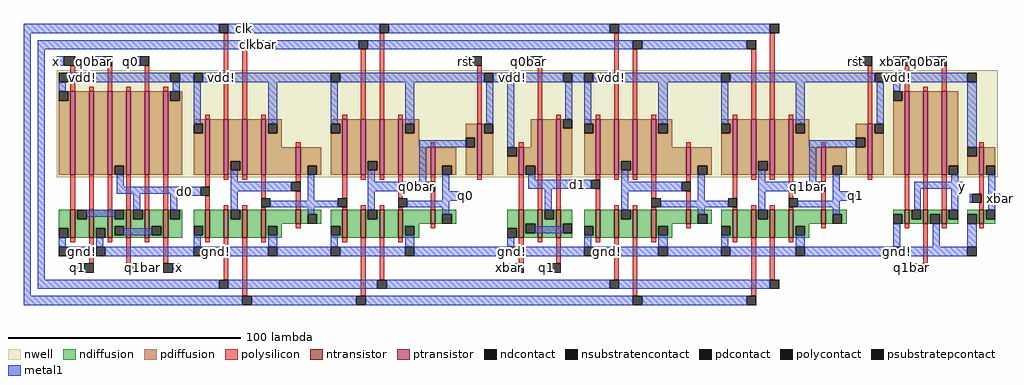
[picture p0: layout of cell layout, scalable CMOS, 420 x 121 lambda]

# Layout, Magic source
magic
tech scmos
<< nwell >>
rect -98 26 307 72
<< polysilicon >>
rect -92 63 -90 74
rect -84 63 -82 65
rect -76 63 -74 74
rect -68 63 -66 65
rect -60 63 -58 74
rect -52 63 -50 65
rect -34 51 -32 53
rect -26 51 -24 88
rect -18 51 -16 81
rect -10 51 -8 53
rect 25 51 27 53
rect 33 51 35 81
rect 41 51 43 88
rect 49 51 51 53
rect 5 39 7 41
rect 83 49 85 74
rect 109 51 111 74
rect 117 51 119 53
rect 134 51 136 53
rect 142 51 144 88
rect 150 51 152 81
rect 158 51 160 53
rect 193 51 195 53
rect 201 51 203 81
rect 209 51 211 88
rect 217 51 219 53
rect 63 39 65 41
rect 101 39 103 41
rect 173 39 175 41
rect 251 49 253 74
rect 267 63 269 74
rect 275 63 277 65
rect 283 63 285 74
rect 231 39 233 41
rect 299 39 301 41
rect -92 12 -90 27
rect -84 12 -82 27
rect -76 12 -74 27
rect -68 12 -66 27
rect -60 12 -58 27
rect -52 12 -50 27
rect -34 22 -32 27
rect -26 25 -24 27
rect -18 25 -16 27
rect -34 12 -32 18
rect -10 17 -8 27
rect 5 24 7 27
rect -26 12 -24 14
rect -18 12 -16 14
rect -10 12 -8 13
rect 5 12 7 20
rect 25 17 27 27
rect 33 25 35 27
rect 41 25 43 27
rect 49 17 51 27
rect 63 24 65 27
rect 83 25 85 27
rect 25 12 27 13
rect 33 12 35 14
rect 41 12 43 14
rect 49 12 51 13
rect 63 12 65 20
rect 101 12 103 27
rect 109 12 111 27
rect 117 12 119 27
rect 134 25 136 27
rect 142 25 144 27
rect 150 25 152 27
rect 134 12 136 21
rect 158 17 160 27
rect 173 24 175 27
rect 142 12 144 14
rect 150 12 152 14
rect 158 12 160 13
rect 173 12 175 20
rect 193 17 195 27
rect 201 25 203 27
rect 209 25 211 27
rect 217 17 219 27
rect 231 24 233 27
rect 251 25 253 27
rect 193 12 195 13
rect 201 12 203 14
rect 209 12 211 14
rect 217 12 219 13
rect 231 12 233 20
rect 267 12 269 27
rect 275 12 277 27
rect 283 12 285 27
rect 299 19 301 27
rect 300 15 301 19
rect 299 12 301 15
rect 5 4 7 6
rect 63 4 65 6
rect 173 4 175 6
rect 231 4 233 6
rect 267 4 269 6
rect -92 -2 -90 0
rect -84 -11 -82 0
rect -76 -2 -74 0
rect -68 -11 -66 0
rect -60 -2 -58 0
rect -52 -11 -50 0
rect -34 -2 -32 0
rect -26 -18 -24 0
rect -18 -25 -16 0
rect -10 -2 -8 0
rect 25 -2 27 0
rect 33 -25 35 0
rect 41 -18 43 0
rect 49 -2 51 0
rect 101 -11 103 0
rect 109 -2 111 0
rect 117 -11 119 0
rect 134 -2 136 0
rect 142 -18 144 0
rect 150 -25 152 0
rect 158 -2 160 0
rect 193 -2 195 0
rect 201 -25 203 0
rect 209 -18 211 0
rect 217 -2 219 0
rect 275 -11 277 6
rect 283 4 285 6
rect 299 4 301 6
<< ndiffusion >>
rect -97 4 -92 12
rect -93 0 -92 4
rect -90 8 -89 12
rect -85 8 -84 12
rect -90 0 -84 8
rect -82 4 -76 12
rect -82 0 -81 4
rect -77 0 -76 4
rect -74 8 -73 12
rect -69 8 -68 12
rect -74 5 -68 8
rect -74 1 -73 5
rect -69 1 -68 5
rect -74 0 -68 1
rect -66 8 -65 12
rect -61 8 -60 12
rect -66 0 -60 8
rect -58 5 -52 12
rect -58 1 -57 5
rect -53 1 -52 5
rect -58 0 -52 1
rect -50 8 -49 12
rect -45 8 -44 12
rect -50 0 -44 8
rect -39 5 -34 12
rect -35 1 -34 5
rect -39 0 -34 1
rect -32 0 -26 12
rect -24 8 -23 12
rect -19 8 -18 12
rect -24 0 -18 8
rect -16 0 -10 12
rect -8 6 5 12
rect 7 10 16 12
rect 7 6 10 10
rect 14 6 16 10
rect -8 5 -1 6
rect -8 1 -7 5
rect -3 1 -1 5
rect 20 5 25 12
rect -8 0 -1 1
rect 24 1 25 5
rect 20 0 25 1
rect 27 0 33 12
rect 35 8 36 12
rect 40 8 41 12
rect 35 0 41 8
rect 43 0 49 12
rect 51 6 63 12
rect 65 10 74 12
rect 65 6 68 10
rect 72 6 74 10
rect 51 5 58 6
rect 51 1 52 5
rect 56 1 58 5
rect 96 4 101 12
rect 51 0 58 1
rect 100 0 101 4
rect 103 6 109 12
rect 103 2 104 6
rect 108 2 109 6
rect 103 0 109 2
rect 111 8 112 12
rect 116 8 117 12
rect 111 0 117 8
rect 119 6 124 12
rect 119 2 120 6
rect 119 0 124 2
rect 129 5 134 12
rect 133 1 134 5
rect 129 0 134 1
rect 136 0 142 12
rect 144 8 145 12
rect 149 8 150 12
rect 144 0 150 8
rect 152 0 158 12
rect 160 6 173 12
rect 175 10 184 12
rect 175 6 178 10
rect 182 6 184 10
rect 160 5 167 6
rect 160 1 161 5
rect 165 1 167 5
rect 188 5 193 12
rect 160 0 167 1
rect 192 1 193 5
rect 188 0 193 1
rect 195 0 201 12
rect 203 8 204 12
rect 208 8 209 12
rect 203 0 209 8
rect 211 0 217 12
rect 219 6 231 12
rect 233 10 242 12
rect 233 6 236 10
rect 240 6 242 10
rect 262 10 267 12
rect 266 6 267 10
rect 269 8 270 12
rect 274 8 275 12
rect 269 6 275 8
rect 277 10 283 12
rect 277 6 278 10
rect 282 6 283 10
rect 285 8 286 12
rect 285 6 290 8
rect 294 10 299 12
rect 298 6 299 10
rect 301 8 302 12
rect 301 6 306 8
rect 219 5 226 6
rect 219 1 220 5
rect 224 1 226 5
rect 219 0 226 1
<< pdiffusion >>
rect -93 59 -92 63
rect -97 27 -92 59
rect -90 27 -84 63
rect -82 27 -76 63
rect -74 31 -68 63
rect -74 27 -73 31
rect -69 27 -68 31
rect -66 27 -60 63
rect -58 27 -52 63
rect -50 59 -49 63
rect -45 59 -44 63
rect -50 27 -44 59
rect -39 49 -34 51
rect -35 45 -34 49
rect -39 27 -34 45
rect -32 27 -26 51
rect -24 33 -18 51
rect -24 29 -23 33
rect -19 29 -18 33
rect -24 27 -18 29
rect -16 27 -10 51
rect -8 49 -1 51
rect -8 45 -7 49
rect -3 45 -1 49
rect -8 39 -1 45
rect 20 49 25 51
rect 24 45 25 49
rect -8 27 5 39
rect 7 31 16 39
rect 7 27 10 31
rect 14 27 16 31
rect 20 27 25 45
rect 27 27 33 51
rect 35 33 41 51
rect 35 29 36 33
rect 40 29 41 33
rect 35 27 41 29
rect 43 27 49 51
rect 51 49 58 51
rect 51 45 52 49
rect 56 45 58 49
rect 51 39 58 45
rect 78 43 83 49
rect 82 39 83 43
rect 51 27 63 39
rect 65 31 74 39
rect 65 27 68 31
rect 72 27 74 31
rect 78 27 83 39
rect 85 45 86 49
rect 85 27 90 45
rect 106 39 109 51
rect 100 35 101 39
rect 96 27 101 35
rect 103 31 109 39
rect 103 27 104 31
rect 108 27 109 31
rect 111 27 117 51
rect 119 47 120 51
rect 119 27 124 47
rect 129 49 134 51
rect 133 45 134 49
rect 129 27 134 45
rect 136 27 142 51
rect 144 33 150 51
rect 144 29 145 33
rect 149 29 150 33
rect 144 27 150 29
rect 152 27 158 51
rect 160 49 167 51
rect 160 45 161 49
rect 165 45 167 49
rect 160 39 167 45
rect 188 49 193 51
rect 192 45 193 49
rect 160 27 173 39
rect 175 31 184 39
rect 175 27 178 31
rect 182 27 184 31
rect 188 27 193 45
rect 195 27 201 51
rect 203 33 209 51
rect 203 29 204 33
rect 208 29 209 33
rect 203 27 209 29
rect 211 27 217 51
rect 219 49 226 51
rect 266 59 267 63
rect 219 45 220 49
rect 224 45 226 49
rect 219 39 226 45
rect 246 43 251 49
rect 250 39 251 43
rect 219 27 231 39
rect 233 31 242 39
rect 233 27 236 31
rect 240 27 242 31
rect 246 27 251 39
rect 253 45 254 49
rect 253 27 258 45
rect 262 27 267 59
rect 269 27 275 63
rect 277 27 283 63
rect 285 31 290 63
rect 285 27 286 31
rect 298 35 299 39
rect 294 27 299 35
rect 301 31 306 39
rect 301 27 302 31
<< metal1 >>
rect -112 88 -28 92
rect -24 88 41 92
rect 45 88 140 92
rect 144 88 209 92
rect -112 -25 -109 88
rect -106 81 -18 85
rect -14 81 32 85
rect 36 81 150 85
rect 154 81 199 85
rect -106 -18 -103 81
rect -98 74 -95 78
rect -82 74 -78 78
rect -66 74 -62 78
rect 78 74 81 78
rect 105 74 107 78
rect 246 74 249 78
rect 262 74 265 78
rect 277 74 281 78
rect -93 67 -49 71
rect -45 67 -39 71
rect -35 67 20 71
rect 24 67 86 71
rect 90 67 96 71
rect 100 67 120 71
rect 124 67 129 71
rect 133 67 188 71
rect 192 67 254 71
rect 258 67 262 71
rect 266 67 294 71
rect -97 63 -94 67
rect -48 63 -45 67
rect -39 49 -36 67
rect -7 49 -3 67
rect 20 49 23 67
rect 52 49 56 67
rect 87 49 90 67
rect 58 39 78 42
rect 96 39 99 67
rect 121 51 124 67
rect 129 49 132 67
rect 161 49 165 67
rect 188 49 191 67
rect 220 49 224 67
rect 255 49 258 67
rect 262 63 265 67
rect 226 39 246 42
rect 294 39 298 67
rect -72 22 -69 27
rect -23 24 -20 29
rect -72 19 -36 22
rect -65 12 -62 19
rect -49 18 -36 19
rect -23 20 3 24
rect -49 12 -46 18
rect -23 12 -20 20
rect 10 16 13 27
rect 36 24 39 29
rect 58 24 61 39
rect 36 20 61 24
rect 68 20 71 27
rect 105 25 108 27
rect 105 21 132 25
rect 145 24 148 29
rect -6 13 23 16
rect -85 9 -73 12
rect 10 10 13 13
rect 36 12 39 20
rect 68 16 78 20
rect 53 13 71 16
rect 68 10 71 13
rect 112 12 115 21
rect 145 20 171 24
rect 145 12 148 20
rect 178 16 181 27
rect 204 24 207 29
rect 226 24 229 39
rect 204 20 229 24
rect 236 20 239 27
rect 287 24 290 27
rect 271 21 292 24
rect 162 13 191 16
rect 178 10 181 13
rect 204 12 207 20
rect 236 16 246 20
rect 221 13 239 16
rect 236 10 239 13
rect 271 12 274 21
rect 287 20 292 21
rect 287 12 290 20
rect 303 19 306 27
rect 295 15 296 19
rect 303 15 308 19
rect 303 12 306 15
rect -69 1 -57 4
rect -97 -4 -94 0
rect -81 -4 -78 0
rect -39 -4 -36 1
rect -7 -4 -3 1
rect 20 -4 23 1
rect 52 -4 56 1
rect 108 2 120 5
rect 96 -4 99 0
rect 129 -4 132 1
rect 161 -4 165 1
rect 188 -4 191 1
rect 220 -4 224 1
rect 262 -4 265 6
rect 279 -4 282 6
rect 294 -4 298 6
rect -93 -8 -81 -4
rect -77 -8 -39 -4
rect -35 -8 -7 -4
rect -3 -8 20 -4
rect 24 -8 52 -4
rect 56 -8 96 -4
rect 100 -8 129 -4
rect 133 -8 161 -4
rect 165 -8 188 -4
rect 192 -8 220 -4
rect 224 -8 262 -4
rect 266 -8 294 -4
rect -89 -15 -86 -11
rect -64 -15 -61 -11
rect -48 -15 -45 -11
rect 97 -15 99 -11
rect 113 -15 115 -11
rect 270 -15 273 -11
rect -106 -22 -28 -18
rect -24 -22 40 -18
rect 44 -22 140 -18
rect 144 -22 209 -18
rect -112 -29 -18 -25
rect -14 -29 31 -25
rect 35 -29 150 -25
rect 154 -29 199 -25
<< ntransistor >>
rect -92 0 -90 12
rect -84 0 -82 12
rect -76 0 -74 12
rect -68 0 -66 12
rect -60 0 -58 12
rect -52 0 -50 12
rect -34 0 -32 12
rect -26 0 -24 12
rect -18 0 -16 12
rect -10 0 -8 12
rect 5 6 7 12
rect 25 0 27 12
rect 33 0 35 12
rect 41 0 43 12
rect 49 0 51 12
rect 63 6 65 12
rect 101 0 103 12
rect 109 0 111 12
rect 117 0 119 12
rect 134 0 136 12
rect 142 0 144 12
rect 150 0 152 12
rect 158 0 160 12
rect 173 6 175 12
rect 193 0 195 12
rect 201 0 203 12
rect 209 0 211 12
rect 217 0 219 12
rect 231 6 233 12
rect 267 6 269 12
rect 275 6 277 12
rect 283 6 285 12
rect 299 6 301 12
<< ptransistor >>
rect -92 27 -90 63
rect -84 27 -82 63
rect -76 27 -74 63
rect -68 27 -66 63
rect -60 27 -58 63
rect -52 27 -50 63
rect -34 27 -32 51
rect -26 27 -24 51
rect -18 27 -16 51
rect -10 27 -8 51
rect 5 27 7 39
rect 25 27 27 51
rect 33 27 35 51
rect 41 27 43 51
rect 49 27 51 51
rect 63 27 65 39
rect 83 27 85 49
rect 101 27 103 39
rect 109 27 111 51
rect 117 27 119 51
rect 134 27 136 51
rect 142 27 144 51
rect 150 27 152 51
rect 158 27 160 51
rect 173 27 175 39
rect 193 27 195 51
rect 201 27 203 51
rect 209 27 211 51
rect 217 27 219 51
rect 231 27 233 39
rect 251 27 253 49
rect 267 27 269 63
rect 275 27 277 63
rect 283 27 285 63
rect 299 27 301 39
<< polycontact >>
rect -28 88 -24 92
rect -95 74 -90 78
rect -78 74 -74 78
rect -62 74 -58 78
rect 41 88 45 92
rect 140 88 144 92
rect -18 81 -14 85
rect 32 81 36 85
rect 81 74 85 78
rect 107 74 111 78
rect 209 88 213 92
rect 150 81 154 85
rect 199 81 203 85
rect 249 74 253 78
rect 265 74 269 78
rect 281 74 285 78
rect -36 18 -32 22
rect 3 20 7 24
rect -10 13 -6 17
rect 23 13 27 17
rect 61 20 65 24
rect 49 13 53 17
rect 132 21 136 25
rect 171 20 175 24
rect 158 13 162 17
rect 191 13 195 17
rect 229 20 233 24
rect 217 13 221 17
rect 296 15 300 19
rect -86 -15 -82 -11
rect -68 -15 -64 -11
rect -52 -15 -48 -11
rect -28 -22 -24 -18
rect 99 -15 103 -11
rect 115 -15 119 -11
rect 40 -22 44 -18
rect 140 -22 144 -18
rect -18 -29 -14 -25
rect 31 -29 35 -25
rect 273 -15 277 -11
rect 209 -22 213 -18
rect 150 -29 154 -25
rect 199 -29 203 -25
<< ndcontact >>
rect -97 0 -93 4
rect -89 8 -85 12
rect -81 0 -77 4
rect -73 8 -69 12
rect -73 1 -69 5
rect -65 8 -61 12
rect -57 1 -53 5
rect -49 8 -45 12
rect -39 1 -35 5
rect -23 8 -19 12
rect 10 6 14 10
rect -7 1 -3 5
rect 20 1 24 5
rect 36 8 40 12
rect 68 6 72 10
rect 52 1 56 5
rect 96 0 100 4
rect 104 2 108 6
rect 112 8 116 12
rect 120 2 124 6
rect 129 1 133 5
rect 145 8 149 12
rect 178 6 182 10
rect 161 1 165 5
rect 188 1 192 5
rect 204 8 208 12
rect 236 6 240 10
rect 262 6 266 10
rect 270 8 274 12
rect 278 6 282 10
rect 286 8 290 12
rect 294 6 298 10
rect 302 8 306 12
rect 220 1 224 5
<< pdcontact >>
rect -97 59 -93 63
rect -73 27 -69 31
rect -49 59 -45 63
rect -39 45 -35 49
rect -23 29 -19 33
rect -7 45 -3 49
rect 20 45 24 49
rect 10 27 14 31
rect 36 29 40 33
rect 52 45 56 49
rect 78 39 82 43
rect 68 27 72 31
rect 86 45 90 49
rect 96 35 100 39
rect 104 27 108 31
rect 120 47 124 51
rect 129 45 133 49
rect 145 29 149 33
rect 161 45 165 49
rect 188 45 192 49
rect 178 27 182 31
rect 204 29 208 33
rect 262 59 266 63
rect 220 45 224 49
rect 246 39 250 43
rect 236 27 240 31
rect 254 45 258 49
rect 286 27 290 31
rect 294 35 298 39
rect 302 27 306 31
<< psubstratepcontact >>
rect -97 -8 -93 -4
rect -81 -8 -77 -4
rect -39 -8 -35 -4
rect -7 -8 -3 -4
rect 20 -8 24 -4
rect 52 -8 56 -4
rect 96 -8 100 -4
rect 129 -8 133 -4
rect 161 -8 165 -4
rect 188 -8 192 -4
rect 220 -8 224 -4
rect 262 -8 266 -4
rect 294 -8 298 -4
<< nsubstratencontact >>
rect -97 67 -93 71
rect -49 67 -45 71
rect -39 67 -35 71
rect 20 67 24 71
rect 86 67 90 71
rect 96 67 100 71
rect 120 67 124 71
rect 129 67 133 71
rect 188 67 192 71
rect 254 67 258 71
rect 262 67 266 71
rect 294 67 298 71
<< labels >>
rlabel metal1 -87 69 -87 69 5 vdd!
rlabel metal1 -98 74 -98 78 4 x
rlabel metal1 -82 74 -82 78 5 q0bar
rlabel metal1 -66 74 -66 78 5 q0
rlabel metal1 -87 -6 -87 -6 1 gnd!
rlabel metal1 -89 -15 -89 -11 1 q1
rlabel metal1 -43 18 -43 22 7 d0
rlabel metal1 -61 -15 -61 -11 1 q1bar
rlabel metal1 -45 -15 -45 -11 7 x
rlabel nsubstratencontact 98 69 98 69 4 vdd!
rlabel metal1 105 74 105 78 5 q0bar
rlabel psubstratepcontact 98 -6 98 -6 2 gnd!
rlabel metal1 97 -15 97 -11 2 xbar
rlabel metal1 113 -15 113 -11 1 q1
rlabel metal1 57 22 57 22 1 q0bar
rlabel metal1 78 16 78 20 1 q0
rlabel metal1 -29 -6 -29 -6 1 gnd!
rlabel metal1 -27 69 -27 69 1 vdd!
rlabel metal1 78 74 78 78 5 rst
rlabel metal1 139 -6 139 -6 1 gnd!
rlabel metal1 141 69 141 69 1 vdd!
rlabel metal1 246 74 246 78 5 rst
rlabel metal1 126 21 126 25 1 d1
rlabel metal1 246 16 246 20 1 q1
rlabel metal1 225 22 225 22 1 q1bar
rlabel metal1 277 74 277 78 5 q0bar
rlabel metal1 262 74 262 78 4 xbar
rlabel nsubstratencontact 264 69 264 69 4 vdd!
rlabel metal1 292 20 292 24 7 y
rlabel metal1 270 -15 270 -11 1 q1bar
rlabel psubstratepcontact 264 -6 264 -6 2 gnd!
rlabel metal1 295 15 295 19 1 x
rlabel metal1 308 15 308 19 7 xbar
rlabel metal1 -11 83 -11 83 1 clkbar
rlabel metal1 -17 90 -17 90 5 clk
<< end >>
